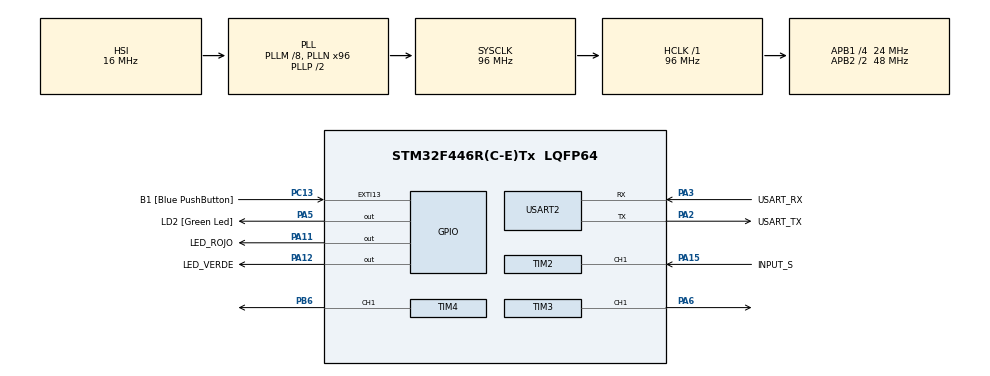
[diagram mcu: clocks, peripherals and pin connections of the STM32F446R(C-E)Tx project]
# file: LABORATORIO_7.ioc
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Mcu.Family=STM32F4
Mcu.Name=STM32F446R(C-E)Tx
Mcu.Package=LQFP64
NVIC.PriorityGroup=NVIC_PRIORITYGROUP_0
NVIC.TIM2_IRQn=true\:0\:0\:false\:false\:true\:true\:true\:true
NVIC.USART2_IRQn=true\:0\:0\:false\:false\:true\:true\:true\:true
PA11.GPIO_Label=LED_ROJO
PA11.Signal=GPIO_Output
PA12.GPIO_Label=LED_VERDE
PA12.PinState=GPIO_PIN_RESET
PA12.Signal=GPIO_Output
PA13.GPIO_Label=TMS
PA13.Mode=Serial_Wire
PA13.Signal=SYS_JTMS-SWDIO
PA14.GPIO_Label=TCK
PA14.Mode=Serial_Wire
PA14.Signal=SYS_JTCK-SWCLK
PA15.GPIO_Label=INPUT_S
PA15.Signal=S_TIM2_CH1_ETR
PA2.GPIO_Label=USART_TX
PA2.Mode=Asynchronous
PA2.Signal=USART2_TX
PA3.GPIO_Label=USART_RX
PA3.Mode=Asynchronous
PA3.Signal=USART2_RX
PA5.GPIO_Label=LD2 [Green Led]
PA5.Signal=GPIO_Output
PA6.Signal=S_TIM3_CH1
PB3.GPIO_Label=SWO
PB3.Signal=SYS_JTDO-SWO
PB6.Signal=S_TIM4_CH1
PC13.GPIO_Label=B1 [Blue PushButton]
PC13.GPIO_ModeDefaultEXTI=GPIO_MODE_IT_FALLING
PC13.Signal=GPXTI13
PC14-OSC32_IN.Mode=LSE-External-Oscillator
PC14-OSC32_IN.Signal=RCC_OSC32_IN
PC15-OSC32_OUT.Mode=LSE-External-Oscillator
PC15-OSC32_OUT.Signal=RCC_OSC32_OUT
PH0-OSC_IN.Mode=HSE-External-Oscillator
PH0-OSC_IN.Signal=RCC_OSC_IN
PH1-OSC_OUT.Mode=HSE-External-Oscillator
PH1-OSC_OUT.Signal=RCC_OSC_OUT
ProjectManager.HeapSize=0x200
ProjectManager.StackSize=0x400
ProjectManager.TargetToolchain=STM32CubeIDE
RCC.48MHZClocksFreq_Value=84000000
RCC.AHBFreq_Value=96000000
RCC.APB1CLKDivider=RCC_HCLK_DIV4
RCC.APB1Freq_Value=24000000
RCC.APB1TimFreq_Value=48000000
RCC.APB2CLKDivider=RCC_HCLK_DIV2
RCC.APB2Freq_Value=48000000
RCC.APB2TimFreq_Value=96000000
RCC.CortexFreq_Value=96000000
RCC.FLatency-AdvancedSettings=FLASH_LATENCY_3
RCC.HCLKFreq_Value=96000000
RCC.HSE_VALUE=8000000
RCC.HSI_VALUE=16000000
RCC.PLLM=8
RCC.PLLN=96
RCC.SYSCLKFreq_VALUE=96000000
RCC.SYSCLKSource=RCC_SYSCLKSOURCE_PLLCLK
RCC.USBFreq_Value=96000000
RCC.VCOOutputFreq_Value=192000000
SH.S_TIM2_CH1_ETR.0=TIM2_CH1,Input_Capture1_from_TI1
SH.S_TIM3_CH1.0=TIM3_CH1,PWM Generation1 CH1
SH.S_TIM4_CH1.0=TIM4_CH1,PWM Generation1 CH1
TIM2.AutoReloadPreload=TIM_AUTORELOAD_PRELOAD_ENABLE
TIM2.Channel-Input_Capture1_from_TI1=TIM_CHANNEL_1
TIM2.ICFilter_CH1=4
TIM2.Prescaler=48-1
TIM3.Channel-PWM\ Generation1\ CH1=TIM_CHANNEL_1
TIM3.Period=5000-1
TIM3.Prescaler=4800-1
TIM3.Pulse-PWM\ Generation1\ CH1=2500
TIM4.Channel-PWM\ Generation1\ CH1=TIM_CHANNEL_1
TIM4.Period=20000-1
TIM4.Prescaler=4800-1
TIM4.Pulse-PWM\ Generation1\ CH1=10000
TIM5.Period=209
TIM5.Prescaler=19
USART2.VirtualMode=VM_ASYNC
VP_TIM2_VS_ClockSourceINT.Mode=Internal
VP_TIM3_VS_ClockSourceINT.Mode=Internal
VP_TIM4_VS_ClockSourceINT.Mode=Internal
VP_TIM5_VS_ClockSourceINT.Mode=Internal
board=NUCLEO-F446RE

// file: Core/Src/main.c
/* USER CODE BEGIN Header */
/**
  ******************************************************************************
  * @file           : main.c
  * @brief          : Main program body
  ******************************************************************************
  * @attention
  *
  * Copyright (c) 2026 STMicroelectronics.
  * All rights reserved.
  *
  * This software is licensed under terms that can be found in the LICENSE file
  * in the root directory of this software component.
  * If no LICENSE file comes with this software, it is provided AS-IS.
  *
  ******************************************************************************
  */
/* USER CODE END Header */
#include "main.h"

/* USER CODE BEGIN Includes */
#include <stdio.h>
/* USER CODE END Includes */

TIM_HandleTypeDef htim2;
TIM_HandleTypeDef htim3;
TIM_HandleTypeDef htim4;
TIM_HandleTypeDef htim5;

UART_HandleTypeDef huart2;

/* USER CODE BEGIN PV */
uint32_t val1 = 0;
uint32_t val2 = 0;
uint32_t delta = 0;
uint8_t capturado = 0;
uint32_t freq = 0;
char buffer_uart[60];
/* USER CODE END PV */

void SystemClock_Config(void);
static void MX_GPIO_Init(void);
static void MX_TIM2_Init(void);
static void MX_USART2_UART_Init(void);
static void MX_TIM5_Init(void);
static void MX_TIM3_Init(void);
static void MX_TIM4_Init(void);

int main(void)
{

  /* MCU Configuration--------------------------------------------------------*/

  /* Reset of all peripherals, Initializes the Flash interface and the Systick. */
  HAL_Init();

  /* Configure the system clock */
  SystemClock_Config();

  /* Initialize all configured peripherals */
  MX_GPIO_Init();
  MX_TIM2_Init();
  MX_USART2_UART_Init();
  MX_TIM5_Init();
  MX_TIM3_Init();
  MX_TIM4_Init();
  /* USER CODE BEGIN 2 */
  HAL_TIM_IC_Start_IT(&htim2, TIM_CHANNEL_1);
  HAL_TIM_PWM_Start(&htim3, TIM_CHANNEL_1); //PWM CANAL 3
  HAL_TIM_PWM_Start(&htim4, TIM_CHANNEL_1); //PWM CANAL 4
  /* USER CODE END 2 */

  /* Infinite loop */
  /* USER CODE BEGIN WHILE */
  while (1)
  {
    //LECTURA Y ENVIO A UART
    int size = sprintf(buffer_uart, "Frecuencia: %lu Hz\r\n", freq);
    HAL_UART_Transmit(&huart2, (uint8_t*)buffer_uart, size, 100);

    /*for(int i = 0; i < 210; i++)
    {

    	__HAL_TIM_SET_COMPARE(&htim5, TIM_CHANNEL_2, i);
    	HAL_Delay(2);
    }

    for(int i = 210; i > 0; i--)
    {
    	__HAL_TIM_SET_COMPARE(&htim5, TIM_CHANNEL_2, i);
    	HAL_Delay(2);
    };*/

    HAL_Delay(500);

    /* USER CODE END WHILE */

  }
}

void SystemClock_Config(void)
{
  RCC_OscInitTypeDef RCC_OscInitStruct = {0};
  RCC_ClkInitTypeDef RCC_ClkInitStruct = {0};

  /** Configure the main internal regulator output voltage
  */
  __HAL_RCC_PWR_CLK_ENABLE();
  __HAL_PWR_VOLTAGESCALING_CONFIG(PWR_REGULATOR_VOLTAGE_SCALE3);

  /** Initializes the RCC Oscillators according to the specified parameters
  * in the RCC_OscInitTypeDef structure.
  */
  RCC_OscInitStruct.OscillatorType = RCC_OSCILLATORTYPE_HSI;
  RCC_OscInitStruct.HSIState = RCC_HSI_ON;
  RCC_OscInitStruct.HSICalibrationValue = RCC_HSICALIBRATION_DEFAULT;
  RCC_OscInitStruct.PLL.PLLState = RCC_PLL_ON;
  RCC_OscInitStruct.PLL.PLLSource = RCC_PLLSOURCE_HSI;
  RCC_OscInitStruct.PLL.PLLM = 8;
  RCC_OscInitStruct.PLL.PLLN = 96;
  RCC_OscInitStruct.PLL.PLLP = RCC_PLLP_DIV2;
  RCC_OscInitStruct.PLL.PLLQ = 2;
  RCC_OscInitStruct.PLL.PLLR = 2;
  if (HAL_RCC_OscConfig(&RCC_OscInitStruct) != HAL_OK)
  {
    Error_Handler();
  }

  /** Initializes the CPU, AHB and APB buses clocks
  */
  RCC_ClkInitStruct.ClockType = RCC_CLOCKTYPE_HCLK|RCC_CLOCKTYPE_SYSCLK
                              |RCC_CLOCKTYPE_PCLK1|RCC_CLOCKTYPE_PCLK2;
  RCC_ClkInitStruct.SYSCLKSource = RCC_SYSCLKSOURCE_PLLCLK;
  RCC_ClkInitStruct.AHBCLKDivider = RCC_SYSCLK_DIV1;
  RCC_ClkInitStruct.APB1CLKDivider = RCC_HCLK_DIV4;
  RCC_ClkInitStruct.APB2CLKDivider = RCC_HCLK_DIV2;

  if (HAL_RCC_ClockConfig(&RCC_ClkInitStruct, FLASH_LATENCY_3) != HAL_OK)
  {
    Error_Handler();
  }
}

static void MX_TIM2_Init(void)
{

  TIM_ClockConfigTypeDef sClockSourceConfig = {0};
  TIM_MasterConfigTypeDef sMasterConfig = {0};
  TIM_IC_InitTypeDef sConfigIC = {0};

  htim2.Instance = TIM2;
  htim2.Init.Prescaler = 48-1;
  htim2.Init.CounterMode = TIM_COUNTERMODE_UP;
  htim2.Init.Period = 4294967295;
  htim2.Init.ClockDivision = TIM_CLOCKDIVISION_DIV1;
  htim2.Init.AutoReloadPreload = TIM_AUTORELOAD_PRELOAD_ENABLE;
  if (HAL_TIM_Base_Init(&htim2) != HAL_OK)
  {
    Error_Handler();
  }
  sClockSourceConfig.ClockSource = TIM_CLOCKSOURCE_INTERNAL;
  if (HAL_TIM_ConfigClockSource(&htim2, &sClockSourceConfig) != HAL_OK)
  {
    Error_Handler();
  }
  if (HAL_TIM_IC_Init(&htim2) != HAL_OK)
  {
    Error_Handler();
  }
  sMasterConfig.MasterOutputTrigger = TIM_TRGO_RESET;
  sMasterConfig.MasterSlaveMode = TIM_MASTERSLAVEMODE_DISABLE;
  if (HAL_TIMEx_MasterConfigSynchronization(&htim2, &sMasterConfig) != HAL_OK)
  {
    Error_Handler();
  }
  sConfigIC.ICPolarity = TIM_INPUTCHANNELPOLARITY_RISING;
  sConfigIC.ICSelection = TIM_ICSELECTION_DIRECTTI;
  sConfigIC.ICPrescaler = TIM_ICPSC_DIV1;
  sConfigIC.ICFilter = 4;
  if (HAL_TIM_IC_ConfigChannel(&htim2, &sConfigIC, TIM_CHANNEL_1) != HAL_OK)
  {
    Error_Handler();
  }

}

static void MX_TIM3_Init(void)
{

  TIM_ClockConfigTypeDef sClockSourceConfig = {0};
  TIM_MasterConfigTypeDef sMasterConfig = {0};
  TIM_OC_InitTypeDef sConfigOC = {0};

  htim3.Instance = TIM3;
  htim3.Init.Prescaler = 4800-1;
  htim3.Init.CounterMode = TIM_COUNTERMODE_UP;
  htim3.Init.Period = 5000-1;
  htim3.Init.ClockDivision = TIM_CLOCKDIVISION_DIV1;
  htim3.Init.AutoReloadPreload = TIM_AUTORELOAD_PRELOAD_DISABLE;
  if (HAL_TIM_Base_Init(&htim3) != HAL_OK)
  {
    Error_Handler();
  }
  sClockSourceConfig.ClockSource = TIM_CLOCKSOURCE_INTERNAL;
  if (HAL_TIM_ConfigClockSource(&htim3, &sClockSourceConfig) != HAL_OK)
  {
    Error_Handler();
  }
  if (HAL_TIM_PWM_Init(&htim3) != HAL_OK)
  {
    Error_Handler();
  }
  sMasterConfig.MasterOutputTrigger = TIM_TRGO_RESET;
  sMasterConfig.MasterSlaveMode = TIM_MASTERSLAVEMODE_DISABLE;
  if (HAL_TIMEx_MasterConfigSynchronization(&htim3, &sMasterConfig) != HAL_OK)
  {
    Error_Handler();
  }
  sConfigOC.OCMode = TIM_OCMODE_PWM1;
  sConfigOC.Pulse = 2500;
  sConfigOC.OCPolarity = TIM_OCPOLARITY_HIGH;
  sConfigOC.OCFastMode = TIM_OCFAST_DISABLE;
  if (HAL_TIM_PWM_ConfigChannel(&htim3, &sConfigOC, TIM_CHANNEL_1) != HAL_OK)
  {
    Error_Handler();
  }
  HAL_TIM_MspPostInit(&htim3);

}

static void MX_TIM4_Init(void)
{

  TIM_ClockConfigTypeDef sClockSourceConfig = {0};
  TIM_MasterConfigTypeDef sMasterConfig = {0};
  TIM_OC_InitTypeDef sConfigOC = {0};

  htim4.Instance = TIM4;
  htim4.Init.Prescaler = 4800-1;
  htim4.Init.CounterMode = TIM_COUNTERMODE_UP;
  htim4.Init.Period = 20000-1;
  htim4.Init.ClockDivision = TIM_CLOCKDIVISION_DIV1;
  htim4.Init.AutoReloadPreload = TIM_AUTORELOAD_PRELOAD_DISABLE;
  if (HAL_TIM_Base_Init(&htim4) != HAL_OK)
  {
    Error_Handler();
  }
  sClockSourceConfig.ClockSource = TIM_CLOCKSOURCE_INTERNAL;
  if (HAL_TIM_ConfigClockSource(&htim4, &sClockSourceConfig) != HAL_OK)
  {
    Error_Handler();
  }
  if (HAL_TIM_PWM_Init(&htim4) != HAL_OK)
  {
    Error_Handler();
  }
  sMasterConfig.MasterOutputTrigger = TIM_TRGO_RESET;
  sMasterConfig.MasterSlaveMode = TIM_MASTERSLAVEMODE_DISABLE;
  if (HAL_TIMEx_MasterConfigSynchronization(&htim4, &sMasterConfig) != HAL_OK)
  {
    Error_Handler();
  }
  sConfigOC.OCMode = TIM_OCMODE_PWM1;
  sConfigOC.Pulse = 10000;
  sConfigOC.OCPolarity = TIM_OCPOLARITY_HIGH;
  sConfigOC.OCFastMode = TIM_OCFAST_DISABLE;
  if (HAL_TIM_PWM_ConfigChannel(&htim4, &sConfigOC, TIM_CHANNEL_1) != HAL_OK)
  {
    Error_Handler();
  }
  HAL_TIM_MspPostInit(&htim4);

}

static void MX_TIM5_Init(void)
{

  TIM_ClockConfigTypeDef sClockSourceConfig = {0};
  TIM_MasterConfigTypeDef sMasterConfig = {0};

  htim5.Instance = TIM5;
  htim5.Init.Prescaler = 19;
  htim5.Init.CounterMode = TIM_COUNTERMODE_UP;
  htim5.Init.Period = 209;
  htim5.Init.ClockDivision = TIM_CLOCKDIVISION_DIV1;
  htim5.Init.AutoReloadPreload = TIM_AUTORELOAD_PRELOAD_DISABLE;
  if (HAL_TIM_Base_Init(&htim5) != HAL_OK)
  {
    Error_Handler();
  }
  sClockSourceConfig.ClockSource = TIM_CLOCKSOURCE_INTERNAL;
  if (HAL_TIM_ConfigClockSource(&htim5, &sClockSourceConfig) != HAL_OK)
  {
    Error_Handler();
  }
  sMasterConfig.MasterOutputTrigger = TIM_TRGO_RESET;
  sMasterConfig.MasterSlaveMode = TIM_MASTERSLAVEMODE_DISABLE;
  if (HAL_TIMEx_MasterConfigSynchronization(&htim5, &sMasterConfig) != HAL_OK)
  {
    Error_Handler();
  }

}

static void MX_USART2_UART_Init(void)
{

  huart2.Instance = USART2;
  huart2.Init.BaudRate = 115200;
  huart2.Init.WordLength = UART_WORDLENGTH_8B;
  huart2.Init.StopBits = UART_STOPBITS_1;
  huart2.Init.Parity = UART_PARITY_NONE;
  huart2.Init.Mode = UART_MODE_TX_RX;
  huart2.Init.HwFlowCtl = UART_HWCONTROL_NONE;
  huart2.Init.OverSampling = UART_OVERSAMPLING_16;
  if (HAL_UART_Init(&huart2) != HAL_OK)
  {
    Error_Handler();
  }

}

static void MX_GPIO_Init(void)
{
  GPIO_InitTypeDef GPIO_InitStruct = {0};

  /* GPIO Ports Clock Enable */
  __HAL_RCC_GPIOC_CLK_ENABLE();
  __HAL_RCC_GPIOH_CLK_ENABLE();
  __HAL_RCC_GPIOA_CLK_ENABLE();
  __HAL_RCC_GPIOB_CLK_ENABLE();

  /*Configure GPIO pin Output Level */
  HAL_GPIO_WritePin(GPIOA, LD2_Pin|LED_ROJO_Pin|LED_VERDE_Pin, GPIO_PIN_RESET);

  /*Configure GPIO pin : B1_Pin */
  GPIO_InitStruct.Pin = B1_Pin;
  GPIO_InitStruct.Mode = GPIO_MODE_IT_FALLING;
  GPIO_InitStruct.Pull = GPIO_NOPULL;
  HAL_GPIO_Init(B1_GPIO_Port, &GPIO_InitStruct);

  /*Configure GPIO pins : LD2_Pin LED_ROJO_Pin LED_VERDE_Pin */
  GPIO_InitStruct.Pin = LD2_Pin|LED_ROJO_Pin|LED_VERDE_Pin;
  GPIO_InitStruct.Mode = GPIO_MODE_OUTPUT_PP;
  GPIO_InitStruct.Pull = GPIO_NOPULL;
  GPIO_InitStruct.Speed = GPIO_SPEED_FREQ_LOW;
  HAL_GPIO_Init(GPIOA, &GPIO_InitStruct);

}

/* USER CODE BEGIN 4 */
void HAL_TIM_IC_CaptureCallback(TIM_HandleTypeDef *htim)
{
  if (htim->Instance == TIM2)
  {
    if (capturado == 0)
    {
      val1 = HAL_TIM_ReadCapturedValue(htim, TIM_CHANNEL_1);
      capturado = 1;
    }
    else
    {
      val2 = HAL_TIM_ReadCapturedValue(htim, TIM_CHANNEL_1);

      if (val2 > val1)
      {
        delta = val2 - val1;
      }
      else
      {
        delta = (0xFFFFFFFF - val1) + val2;
      }

      if (delta > 0)
      {
        freq = 1000000 / delta; // 1 tick = 1 microsegundo
      }

      capturado = 0;
    }
  }
}
/* USER CODE END 4 */

void Error_Handler(void)
{
  __disable_irq();
  while (1)
  {
  }
}
